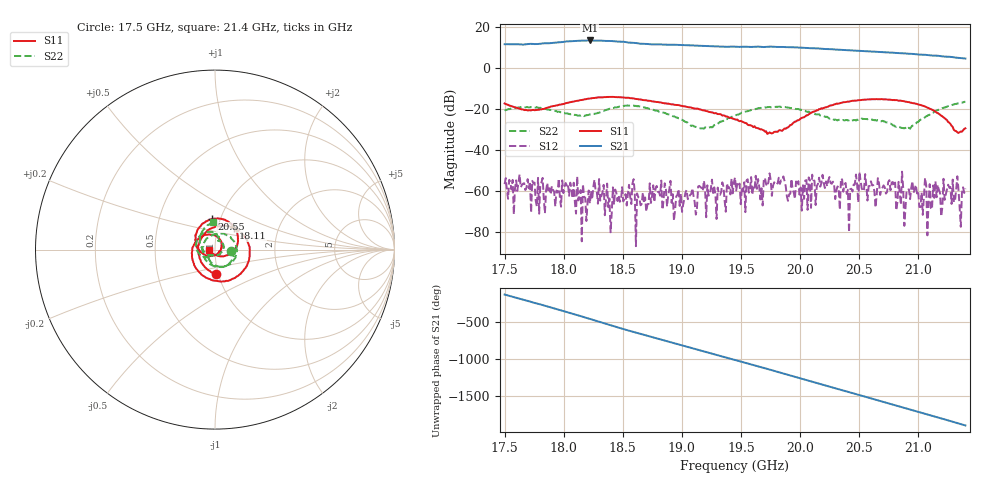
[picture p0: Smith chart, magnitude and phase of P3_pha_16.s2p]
!Created with skrf (http://scikit-rf.org).
# GHz S RI R 50.0
!freq ReS11 ImS11 ReS21 ImS21 ReS12 ImS12 ReS22 ImS22
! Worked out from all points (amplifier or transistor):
!   401 points, 17.5 GHz to 21.4 GHz, reference 50 ohm
!   highest |S21| = 13.5 dB at 18.22 GHz (marker M1)
!   |S21| within 3 dB of that: start of sweep to 19.34 GHz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
!   unconditionally stable (mu >= 1): start of sweep to end of sweep
!   at 18.14 GHz: K = 97.42, MAG = 13.5 dB, |S12| = -59.5 dB
!   at 19.45 GHz: K = 68.87, MAG = 10.5 dB, |S12| = -53.3 dB
!   at 21.4 GHz: K = 245.80, MAG = 4.8 dB, |S12| = -58.8 dB
!   S11 on the Smith chart (normalised r, x): 17.5 GHz: 0.97, -0.27; 18.11 GHz: 1.19, +0.30; 20.55 GHz: 0.91, +0.32; 21.4 GHz: 0.93, -0.01
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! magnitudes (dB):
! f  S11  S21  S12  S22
! 17.5 GHz  -17.3  11.7  -56.6  -20.7
! 18.11 GHz  -15.9  13.3  -52.8  -23.0
! 18.15 GHz  -15.5  13.4  -84.5  -22.9
! 18.22 GHz  -14.8  13.5  -66.1  -22.6
! 18.32 GHz  -14.3  13.4  -62.4  -21.2
! 18.4 GHz  -14.0  13.2  -80.1  -19.9
! 18.57 GHz  -14.6  12.4  -66.3  -18.3
! 18.63 GHz  -15.2  12.1  -62.9  -18.5
! 18.81 GHz  -16.6  11.6  -60.3  -21.3
! 18.93 GHz  -17.8  11.4  -74.4  -23.5
! 19.17 GHz  -20.4  10.9  -58.4  -29.4
! 19.3 GHz  -22.4  10.6  -58.3  -27.1
! 19.45 GHz  -25.0  10.5  -53.3  -23.2
! 19.74 GHz  -31.4  10.5  -51.3  -18.9
! 20.1 GHz  -21.6  9.7  -52.0  -22.0
! 20.42 GHz  -16.3  8.7  -80.2  -25.4
! 20.55 GHz  -15.3  8.3  -51.7  -24.8
! 20.76 GHz  -15.4  7.6  -54.7  -26.9
! 21.1 GHz  -19.7  6.3  -56.6  -22.7
! 21.15 GHz  -21.2  6.1  -55.1  -20.9
! 21.37 GHz  -31.0  4.9  -60.9  -16.8
! 21.4 GHz  -29.4  4.7  -58.8  -16.3
